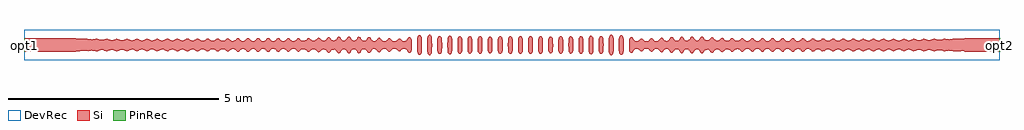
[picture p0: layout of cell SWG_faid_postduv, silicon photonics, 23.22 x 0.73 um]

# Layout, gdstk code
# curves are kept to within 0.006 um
import gdstk
lib = gdstk.Library(unit=1e-6, precision=1e-09)
def P(c, l, *ps):  # polygons
    for p in ps: c.add(gdstk.Polygon(p, *l))
Si = (1, 0)
PinRec = (1, 10)
DevRec = (68, 0)

swg_faid_postduv = lib.new_cell('SWG_faid_postduv')
P(swg_faid_postduv, Si, [(7.719,-0.196),(7.695,-0.187),(7.643,-0.116),(7.617,-0.107),(7.579,-0.106),(7.558,-0.116),(7.508,-0.182),(7.479,-0.195),(7.457,-0.188),(7.405,-0.119),(7.379,-0.107),(7.329,-0.109),(7.262,-0.174),(7.235,-0.181),(7.214,-0.171),(7.163,-0.115),(7.128,-0.105),(7.08,-0.111),(7.001,-0.168),(6.979,-0.161),(6.932,-0.115),(6.901,-0.101),(6.854,-0.101),(6.784,-0.152),(6.757,-0.161),(6.674,-0.101),(6.626,-0.096),(6.602,-0.102),(6.522,-0.159),(6.499,-0.152),(6.464,-0.117),(6.425,-0.095),(6.376,-0.095),(6.351,-0.106),(6.299,-0.154),(6.278,-0.16),(6.196,-0.096),(6.172,-0.091),(6.125,-0.096),(6.064,-0.153),(6.043,-0.162),(6.022,-0.157),(5.959,-0.097),(5.9,-0.09),(5.873,-0.101),(5.82,-0.157),(5.788,-0.162),(5.732,-0.106),(5.695,-0.089),(5.64,-0.097),(5.587,-0.152),(5.564,-0.164),(5.535,-0.153),(5.476,-0.097),(5.422,-0.091),(5.396,-0.101),(5.345,-0.153),(5.32,-0.164),(5.295,-0.153),(5.243,-0.102),(5.217,-0.093),(5.159,-0.101),(5.085,-0.159),(5.058,-0.152),(4.991,-0.099),(4.944,-0.094),(4.841,-0.155),(4.763,-0.107),(4.717,-0.097),(4.67,-0.11),(4.617,-0.15),(4.596,-0.154),(4.535,-0.115),(4.467,-0.1),(4.362,-0.151),(4.285,-0.112),(4.24,-0.102),(4.194,-0.112),(4.117,-0.151),(4.013,-0.104),(3.966,-0.109),(3.884,-0.15),(3.802,-0.113),(3.763,-0.105),(3.717,-0.112),(3.638,-0.147),(3.536,-0.105),(3.489,-0.108),(3.405,-0.146),(3.307,-0.107),(3.273,-0.105),(3.16,-0.147),(3.083,-0.113),(3.035,-0.104),(2.914,-0.144),(2.808,-0.105),(2.754,-0.113),(2.681,-0.145),(2.557,-0.106),(2.436,-0.145),(2.346,-0.112),(2.307,-0.11),(2.203,-0.146),(2.08,-0.113),(1.949,-0.144),(1.831,-0.12),(1.732,-0.144),(1.592,-0.13),(1.487,-0.148),(1.335,-0.145),(1.141,-0.161),(0,-0.162),(0,0.162),(1.141,0.161),(1.335,0.145),(1.493,0.147),(1.602,0.13),(1.732,0.144),(1.831,0.12),(1.963,0.144),(2.08,0.113),(2.202,0.145),(2.307,0.11),(2.351,0.113),(2.442,0.145),(2.557,0.106),(2.59,0.11),(2.681,0.145),(2.762,0.111),(2.814,0.105),(2.927,0.144),(3.035,0.103),(3.068,0.108),(3.16,0.147),(3.268,0.105),(3.329,0.115),(3.393,0.146),(3.42,0.142),(3.489,0.108),(3.536,0.105),(3.639,0.147),(3.717,0.112),(3.771,0.105),(3.884,0.15),(3.966,0.109),(4.013,0.104),(4.117,0.151),(4.211,0.105),(4.24,0.102),(4.285,0.111),(4.362,0.151),(4.467,0.1),(4.513,0.105),(4.596,0.154),(4.618,0.149),(4.677,0.107),(4.717,0.098),(4.763,0.107),(4.841,0.155),(4.909,0.108),(4.944,0.095),(4.991,0.099),(5.064,0.156),(5.085,0.159),(5.17,0.095),(5.218,0.093),(5.253,0.109),(5.298,0.155),(5.32,0.164),(5.341,0.155),(5.395,0.101),(5.422,0.09),(5.468,0.093),(5.543,0.159),(5.564,0.164),(5.647,0.093),(5.695,0.089),(5.73,0.103),(5.769,0.148),(5.799,0.164),(5.82,0.157),(5.861,0.11),(5.899,0.089),(5.958,0.097),(6.022,0.157),(6.043,0.162),(6.065,0.151),(6.1,0.112),(6.149,0.091),(6.197,0.097),(6.278,0.16),(6.299,0.154),(6.347,0.108),(6.376,0.094),(6.435,0.099),(6.501,0.152),(6.522,0.159),(6.602,0.102),(6.627,0.096),(6.674,0.101),(6.757,0.161),(6.778,0.156),(6.854,0.101),(6.901,0.102),(7.001,0.169),(7.08,0.111),(7.135,0.105),(7.181,0.129),(7.213,0.169),(7.235,0.181),(7.269,0.169),(7.304,0.126),(7.33,0.109),(7.367,0.107),(7.406,0.121),(7.451,0.182),(7.479,0.195),(7.509,0.182),(7.552,0.121),(7.58,0.106),(7.605,0.106),(7.63,0.109),(7.658,0.131),(7.69,0.183),(7.724,0.196),(7.747,0.185),(7.778,0.134),(7.806,0.108),(7.829,0.101),(7.857,0.1),(7.883,0.112),(7.932,0.182),(7.958,0.193),(7.987,0.182),(8.029,0.115),(8.056,0.097),(8.107,0.097),(8.135,0.118),(8.177,0.18),(8.203,0.188),(8.225,0.178),(8.27,0.111),(8.305,0.094),(8.358,0.098),(8.415,0.16),(8.442,0.17),(8.461,0.162),(8.503,0.111),(8.536,0.091),(8.595,0.094),(8.654,0.146),(8.682,0.157),(8.704,0.147),(8.737,0.11),(8.785,0.084),(8.835,0.089),(8.916,0.15),(8.939,0.144),(8.989,0.098),(9.016,0.087),(9.062,0.09),(9.089,0.107),(9.139,0.179),(9.16,0.185),(9.183,0.176),(9.202,0.153),(9.214,0.075),(9.213,-0.116),(9.199,-0.158),(9.169,-0.184),(9.139,-0.179),(9.102,-0.121),(9.062,-0.09),(9.016,-0.087),(8.979,-0.106),(8.937,-0.145),(8.916,-0.15),(8.833,-0.087),(8.784,-0.085),(8.752,-0.098),(8.704,-0.147),(8.682,-0.157),(8.661,-0.15),(8.608,-0.099),(8.581,-0.087),(8.535,-0.091),(8.495,-0.119),(8.458,-0.164),(8.437,-0.17),(8.409,-0.155),(8.358,-0.098),(8.306,-0.093),(8.271,-0.111),(8.225,-0.178),(8.203,-0.188),(8.17,-0.173),(8.136,-0.12),(8.108,-0.098),(8.056,-0.097),(8.028,-0.117),(7.986,-0.182),(7.958,-0.193),(7.936,-0.185),(7.884,-0.112),(7.856,-0.1),(7.829,-0.101),(7.79,-0.118),(7.747,-0.185)],
  [(15.885,-0.196),(15.856,-0.187),(15.82,-0.129),(15.793,-0.104),(15.768,-0.101),(15.741,-0.101),(15.713,-0.115),(15.675,-0.173),(15.64,-0.193),(15.606,-0.174),(15.575,-0.12),(15.541,-0.096),(15.49,-0.099),(15.462,-0.122),(15.429,-0.175),(15.396,-0.187),(15.373,-0.177),(15.342,-0.125),(15.315,-0.099),(15.266,-0.092),(15.239,-0.1),(15.191,-0.155),(15.162,-0.17),(15.14,-0.164),(15.105,-0.119),(15.062,-0.089),(15.003,-0.094),(14.938,-0.152),(14.917,-0.157),(14.848,-0.098),(14.812,-0.085),(14.764,-0.088),(14.683,-0.15),(14.661,-0.144),(14.608,-0.097),(14.581,-0.087),(14.535,-0.091),(14.508,-0.11),(14.468,-0.172),(14.438,-0.185),(14.401,-0.158),(14.386,-0.082),(14.389,0.125),(14.407,0.166),(14.438,0.185),(14.459,0.179),(14.508,0.11),(14.535,0.091),(14.581,0.087),(14.608,0.096),(14.661,0.144),(14.683,0.15),(14.764,0.089),(14.789,0.086),(14.836,0.091),(14.917,0.157),(14.938,0.152),(14.989,0.101),(15.016,0.088),(15.061,0.089),(15.097,0.111),(15.14,0.164),(15.162,0.17),(15.183,0.161),(15.239,0.1),(15.266,0.092),(15.303,0.096),(15.33,0.111),(15.373,0.177),(15.396,0.187),(15.429,0.175),(15.462,0.122),(15.489,0.098),(15.541,0.096),(15.567,0.111),(15.613,0.182),(15.64,0.193),(15.668,0.182),(15.714,0.114),(15.741,0.101),(15.797,0.108),(15.851,0.183),(15.874,0.195),(15.908,0.185),(15.94,0.134),(15.967,0.111),(16.019,0.106),(16.058,0.131),(16.091,0.182),(16.119,0.195),(16.149,0.182),(16.185,0.129),(16.218,0.109),(16.267,0.108),(16.299,0.129),(16.342,0.177),(16.364,0.181),(16.381,0.175),(16.42,0.128),(16.468,0.104),(16.518,0.109),(16.597,0.169),(16.619,0.162),(16.65,0.13),(16.696,0.102),(16.744,0.101),(16.768,0.11),(16.821,0.155),(16.842,0.161),(16.915,0.107),(16.971,0.096),(17.018,0.114),(17.076,0.159),(17.098,0.154),(17.174,0.095),(17.221,0.094),(17.321,0.16),(17.4,0.098),(17.448,0.092),(17.473,0.095),(17.545,0.159),(17.566,0.162),(17.652,0.092),(17.698,0.089),(17.725,0.099),(17.769,0.148),(17.8,0.164),(17.822,0.156),(17.861,0.11),(17.901,0.088),(17.949,0.091),(17.976,0.107),(18.009,0.148),(18.045,0.164),(18.128,0.094),(18.176,0.09),(18.202,0.099),(18.279,0.164),(18.301,0.157),(18.347,0.109),(18.379,0.093),(18.439,0.1),(18.503,0.155),(18.524,0.16),(18.606,0.1),(18.653,0.094),(18.678,0.1),(18.758,0.155),(18.856,0.099),(18.892,0.098),(18.927,0.108),(19.002,0.154),(19.084,0.106),(19.131,0.1),(19.158,0.106),(19.237,0.151),(19.331,0.105),(19.357,0.102),(19.404,0.11),(19.481,0.151),(19.582,0.105),(19.631,0.108),(19.726,0.15),(19.827,0.105),(19.869,0.107),(19.96,0.147),(20.062,0.105),(20.108,0.107),(20.193,0.146),(20.218,0.143),(20.289,0.108),(20.336,0.105),(20.439,0.147),(20.562,0.103),(20.684,0.144),(20.784,0.105),(20.835,0.11),(20.917,0.144),(21.04,0.105),(21.15,0.144),(21.18,0.141),(21.245,0.114),(21.29,0.11),(21.396,0.145),(21.517,0.113),(21.649,0.144),(21.767,0.12),(21.889,0.145),(22.006,0.13),(22.114,0.148),(22.271,0.145),(22.457,0.161),(23.2,0.162),(23.2,-0.162),(22.466,-0.161),(22.262,-0.145),(22.105,-0.147),(21.996,-0.13),(21.874,-0.145),(21.767,-0.12),(21.635,-0.144),(21.517,-0.113),(21.396,-0.145),(21.29,-0.11),(21.252,-0.112),(21.157,-0.145),(21.04,-0.105),(20.917,-0.145),(20.846,-0.113),(20.778,-0.106),(20.678,-0.144),(20.562,-0.103),(20.439,-0.147),(20.336,-0.105),(20.289,-0.108),(20.205,-0.146),(20.108,-0.107),(20.062,-0.105),(19.96,-0.148),(19.88,-0.111),(19.834,-0.105),(19.798,-0.113),(19.726,-0.15),(19.631,-0.108),(19.596,-0.104),(19.556,-0.113),(19.481,-0.151),(19.404,-0.111),(19.357,-0.102),(19.236,-0.151),(19.13,-0.1),(19.084,-0.106),(19.017,-0.15),(18.997,-0.154),(18.927,-0.108),(18.88,-0.098),(18.834,-0.108),(18.758,-0.155),(18.678,-0.1),(18.653,-0.094),(18.606,-0.1),(18.542,-0.152),(18.518,-0.16),(18.426,-0.094),(18.379,-0.093),(18.336,-0.118),(18.301,-0.157),(18.279,-0.164),(18.255,-0.153),(18.201,-0.098),(18.176,-0.09),(18.129,-0.094),(18.094,-0.118),(18.061,-0.157),(18.034,-0.164),(17.96,-0.098),(17.901,-0.088),(17.853,-0.118),(17.822,-0.156),(17.8,-0.164),(17.775,-0.153),(17.724,-0.099),(17.698,-0.089),(17.641,-0.097),(17.566,-0.162),(17.536,-0.153),(17.472,-0.095),(17.425,-0.091),(17.4,-0.099),(17.321,-0.16),(17.221,-0.094),(17.175,-0.095),(17.15,-0.106),(17.101,-0.152),(17.076,-0.159),(17.018,-0.114),(16.971,-0.095),(16.923,-0.103),(16.842,-0.161),(16.816,-0.152),(16.744,-0.1),(16.696,-0.101),(16.668,-0.115),(16.619,-0.162),(16.598,-0.168),(16.528,-0.115),(16.493,-0.103),(16.437,-0.115),(16.364,-0.182),(16.33,-0.167),(16.283,-0.115),(16.267,-0.107),(16.218,-0.109),(16.192,-0.122),(16.149,-0.182),(16.119,-0.195),(16.084,-0.174),(16.044,-0.118),(16.018,-0.105),(15.993,-0.106),(15.957,-0.116),(15.908,-0.185)],
  [(9.4,-0.232),(9.367,-0.211),(9.346,-0.151),(9.346,0.144),(9.363,0.206),(9.384,0.228),(9.406,0.232),(9.441,0.201),(9.454,0.161),(9.457,-0.029),(9.453,-0.167),(9.436,-0.21)],
  [(9.639,-0.24),(9.61,-0.226),(9.591,-0.19),(9.582,-0.011),(9.588,0.176),(9.612,0.226),(9.639,0.24),(9.661,0.233),(9.687,0.192),(9.697,0.022),(9.693,-0.168),(9.668,-0.226)],
  [(9.874,-0.209),(9.847,-0.191),(9.825,-0.133),(9.825,0.111),(9.83,0.157),(9.844,0.185),(9.863,0.204),(9.884,0.209),(9.916,0.186),(9.933,0.143),(9.934,-0.137),(9.912,-0.191),(9.895,-0.206)],
  [(10.118,-0.221),(10.091,-0.208),(10.072,-0.173),(10.063,-0.011),(10.072,0.174),(10.092,0.208),(10.118,0.221),(10.152,0.203),(10.17,0.167),(10.177,0.005),(10.17,-0.165),(10.148,-0.208)],
  [(10.358,-0.207),(10.329,-0.191),(10.306,-0.133),(10.304,0.066),(10.316,0.169),(10.336,0.198),(10.363,0.207),(10.383,0.199),(10.409,0.157),(10.416,-0.029),(10.41,-0.155),(10.39,-0.19)],
  [(10.597,-0.205),(10.57,-0.19),(10.548,-0.144),(10.544,0.031),(10.552,0.157),(10.579,0.198),(10.602,0.205),(10.634,0.185),(10.652,0.142),(10.656,-0.038),(10.648,-0.156),(10.629,-0.19)],
  [(10.842,-0.206),(10.815,-0.195),(10.791,-0.155),(10.784,-0.029),(10.786,0.134),(10.806,0.185),(10.842,0.206),(10.862,0.198),(10.888,0.157),(10.896,0.022),(10.89,-0.15),(10.876,-0.182)],
  [(11.076,-0.198),(11.054,-0.187),(11.03,-0.146),(11.024,0.031),(11.033,0.155),(11.054,0.187),(11.081,0.198),(11.109,0.184),(11.131,0.141),(11.136,-0.038),(11.13,-0.146),(11.105,-0.188)],
  [(11.321,-0.208),(11.299,-0.201),(11.273,-0.163),(11.264,-0.029),(11.271,0.157),(11.296,0.199),(11.321,0.208),(11.344,0.199),(11.369,0.158),(11.376,0.04),(11.373,-0.14),(11.355,-0.186)],
  [(11.555,-0.207),(11.519,-0.177),(11.506,-0.133),(11.505,0.111),(11.519,0.176),(11.536,0.199),(11.565,0.207),(11.584,0.199),(11.601,0.177),(11.613,0.142),(11.615,-0.118),(11.601,-0.177),(11.576,-0.204)],
  [(11.799,-0.208),(11.778,-0.199),(11.753,-0.163),(11.744,-0.029),(11.751,0.157),(11.776,0.199),(11.799,0.208),(11.824,0.199),(11.849,0.157),(11.856,0.04),(11.85,-0.156),(11.833,-0.189)],
  [(12.033,-0.207),(12,-0.177),(11.986,-0.133),(11.985,0.111),(11.991,0.157),(12.005,0.185),(12.023,0.204),(12.044,0.208),(12.075,0.185),(12.094,0.136),(12.094,-0.135),(12.066,-0.197)],
  [(12.278,-0.208),(12.256,-0.199),(12.233,-0.163),(12.224,-0.029),(12.231,0.157),(12.256,0.199),(12.278,0.208),(12.304,0.199),(12.328,0.157),(12.336,0.022),(12.329,-0.156),(12.311,-0.19)],
  [(12.518,-0.198),(12.495,-0.188),(12.47,-0.147),(12.464,0.04),(12.471,0.148),(12.501,0.193),(12.523,0.198),(12.55,0.183),(12.572,0.138),(12.576,-0.038),(12.57,-0.147),(12.544,-0.188)],
  [(12.757,-0.205),(12.735,-0.195),(12.709,-0.148),(12.704,0.031),(12.712,0.157),(12.738,0.198),(12.762,0.206),(12.794,0.185),(12.812,0.142),(12.816,-0.038),(12.809,-0.155),(12.79,-0.19)],
  [(13.002,-0.205),(12.975,-0.194),(12.954,-0.163),(12.944,-0.029),(12.946,0.134),(12.966,0.185),(13.002,0.205),(13.034,0.185),(13.049,0.157),(13.056,0.04),(13.051,-0.148),(13.03,-0.19)],
  [(13.236,-0.207),(13.21,-0.19),(13.189,-0.148),(13.184,0.031),(13.191,0.157),(13.217,0.199),(13.241,0.207),(13.269,0.193),(13.293,0.142),(13.295,-0.133),(13.269,-0.193)],
  [(13.481,-0.221),(13.452,-0.208),(13.433,-0.174),(13.423,-0.011),(13.428,0.159),(13.447,0.202),(13.481,0.221),(13.513,0.202),(13.529,0.172),(13.537,0.004),(13.529,-0.171),(13.509,-0.208)],
  [(13.715,-0.209),(13.688,-0.191),(13.669,-0.148),(13.663,0.013),(13.67,0.157),(13.692,0.196),(13.725,0.209),(13.752,0.191),(13.77,0.157),(13.777,-0.02),(13.771,-0.156),(13.753,-0.191)],
  [(13.96,-0.24),(13.926,-0.218),(13.907,-0.168),(13.903,-0.029),(13.906,0.161),(13.927,0.22),(13.96,0.24),(13.993,0.22),(14.012,0.176),(14.018,0.005),(14.007,-0.195),(13.989,-0.226)],
  [(14.199,-0.232),(14.164,-0.21),(14.147,-0.167),(14.143,0.025),(14.151,0.183),(14.171,0.218),(14.204,0.232),(14.237,0.206),(14.252,0.16),(14.255,-0.143),(14.23,-0.216)])
P(swg_faid_postduv, DevRec, [(0,-0.365),(0,0.365),(23.2,0.365),(23.2,-0.365),(9.82,-0.365)])
swg_faid_postduv.add(gdstk.FlexPath([(0.01,0),(-0.01,0)], 0.324, ends="flush", simple_path=True, layer=1, datatype=10))  # PinRec
swg_faid_postduv.add(gdstk.FlexPath([(23.19,0),(23.21,0)], 0.324, ends="flush", simple_path=True, layer=1, datatype=10))  # PinRec
swg_faid_postduv.add(gdstk.Label('opt2', (23.2,0), layer=1, texttype=10))
swg_faid_postduv.add(gdstk.Label('opt1', (0,0), layer=1, texttype=10))

lib.write_gds('SWG_faid_postduv.gds')
